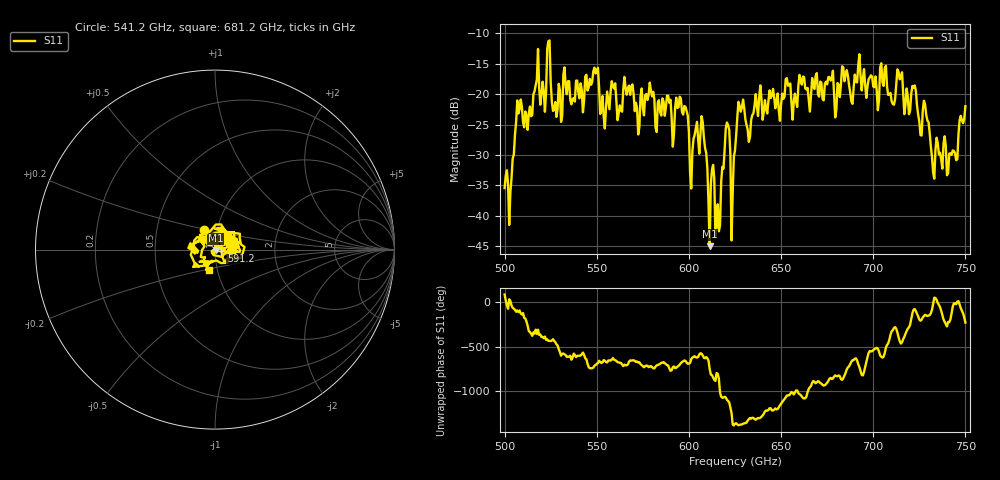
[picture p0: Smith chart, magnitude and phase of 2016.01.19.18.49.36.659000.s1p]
!Created with skrf (http://scikit-rf.org).
# GHz S RI R 50.0
!freq ReS11 ImS11
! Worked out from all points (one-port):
!   401 points, 500 GHz to 750 GHz, reference 50 ohm
!   lowest |S11| = -45.0 dB at 611.2 GHz (marker M1), VSWR 1.01, Z = 50.5 - j0.288 ohm
!   |S11| at or under -10 dB: start of sweep to end of sweep
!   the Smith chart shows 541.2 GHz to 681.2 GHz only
!   S11 on the Smith chart (normalised r, x): 541.2 GHz: 0.87, +0.19; 591.2 GHz: 1.07, -0.02; 681.2 GHz: 0.92, -0.21
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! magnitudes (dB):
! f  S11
! 500 GHz  -35.4
! 503.8 GHz  -33.8
! 507.5 GHz  -23.2
! 516.9 GHz  -18.5
! 531.2 GHz  -23.5
! 541.2 GHz  -18.2
! 549.4 GHz  -16.6
! 553.1 GHz  -20.3
! 562.5 GHz  -21.9
! 591.2 GHz  -28.6
! 593.8 GHz  -22.3
! 601.2 GHz  -35.5
! 607.5 GHz  -24.6
! 611.2 GHz  -45.0
! 615.6 GHz  -38.1
! 620.6 GHz  -24.7
! 623.8 GHz  -36.2
! 625 GHz  -29.3
! 628.1 GHz  -22.9
! 656.2 GHz  -24.2
! 681.2 GHz  -18.5
! 687.5 GHz  -19.7
! 714.4 GHz  -17.6
! 718.8 GHz  -20.4
! 728.8 GHz  -23.4
! 732.5 GHz  -32.9
! 744.4 GHz  -29.7
! 750 GHz  -22.0
